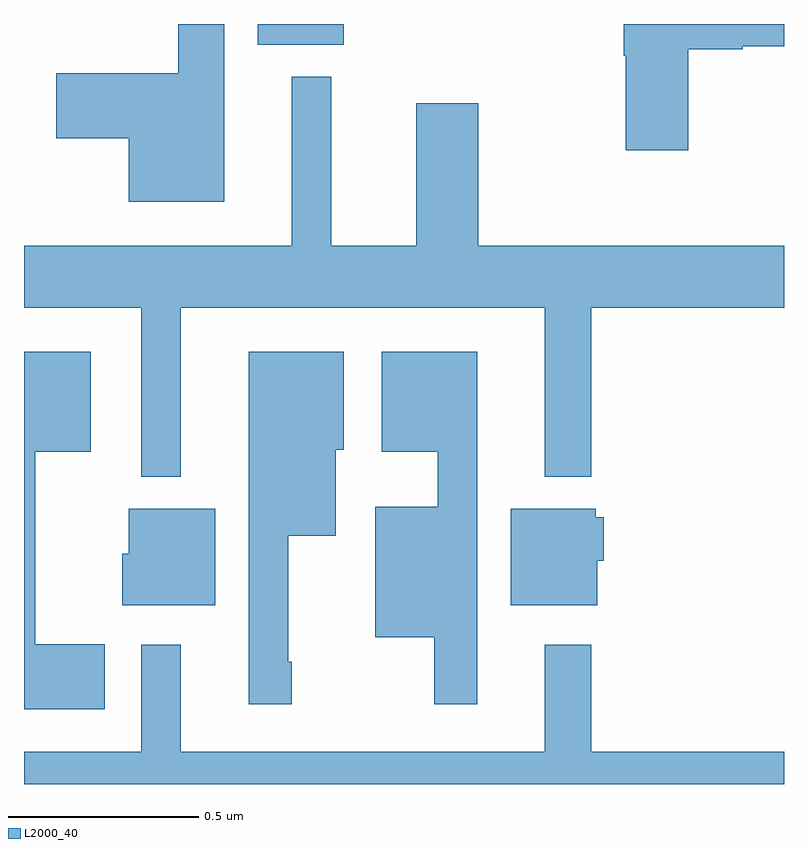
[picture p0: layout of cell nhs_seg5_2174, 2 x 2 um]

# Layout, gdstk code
import gdstk
lib = gdstk.Library(unit=1e-6, precision=1e-09)
def R(c, l, rs):  # rectangles x0, y0, x1, y1
    for r in rs: c.add(gdstk.rectangle(r[:2], r[2:], *l))
def P(c, l, *ps):  # polygons
    for p in ps: c.add(gdstk.Polygon(p, *l))
L2000_40 = (2000, 40)

nhs_seg5_2174 = lib.new_cell('nhs_seg5_2174')
R(nhs_seg5_2174, L2000_40, [(140.615,898.745,140.842,898.799)])
P(nhs_seg5_2174, L2000_40, [(140.527,898.799),(140.406,898.799),(140.406,898.67),(140.085,898.67),(140.085,898.499),(140.276,898.499),(140.276,898.331),(140.527,898.331)],
  [(141.748,898.732),(141.891,898.732),(141.891,898.74),(142,898.74),(142,898.799),(141.578,898.799),(141.578,898.715),(141.583,898.715),(141.583,898.467),(141.748,898.467)],
  [(140.413,898.052),(141.371,898.052),(141.371,897.608),(141.493,897.608),(141.493,898.052),(142,898.052),(142,898.216),(141.196,898.216),(141.196,898.591),(141.032,898.591),(141.032,898.216),(140.809,898.216),(140.809,898.66),(140.705,898.66),(140.705,898.216),(140,898.216),(140,898.052),(140.309,898.052),(140.309,897.608),(140.413,897.608)],
  [(140.705,897.121),(140.695,897.121),(140.695,897.452),(140.821,897.452),(140.821,897.678),(140.842,897.678),(140.842,897.937),(140.591,897.937),(140.591,897.009),(140.705,897.009)],
  [(141.193,897.937),(140.942,897.937),(140.942,897.674),(141.089,897.674),(141.089,897.529),(140.924,897.529),(140.924,897.185),(141.079,897.185),(141.079,897.009),(141.193,897.009)],
  [(140.212,897.167),(140.029,897.167),(140.029,897.674),(140.176,897.674),(140.176,897.937),(140,897.937),(140,896.996),(140.212,896.996)],
  [(140.503,897.523),(140.276,897.523),(140.276,897.405),(140.258,897.405),(140.258,897.269),(140.503,897.269)],
  [(141.508,897.387),(141.526,897.387),(141.526,897.501),(141.504,897.501),(141.504,897.523),(141.281,897.523),(141.281,897.269),(141.508,897.269)],
  [(142,896.884),(141.493,896.884),(141.493,897.166),(141.371,897.166),(141.371,896.884),(140.413,896.884),(140.413,897.166),(140.309,897.166),(140.309,896.884),(140,896.884),(140,896.799),(142,896.799)])

lib.write_gds('nhs_seg5_2174.gds')
